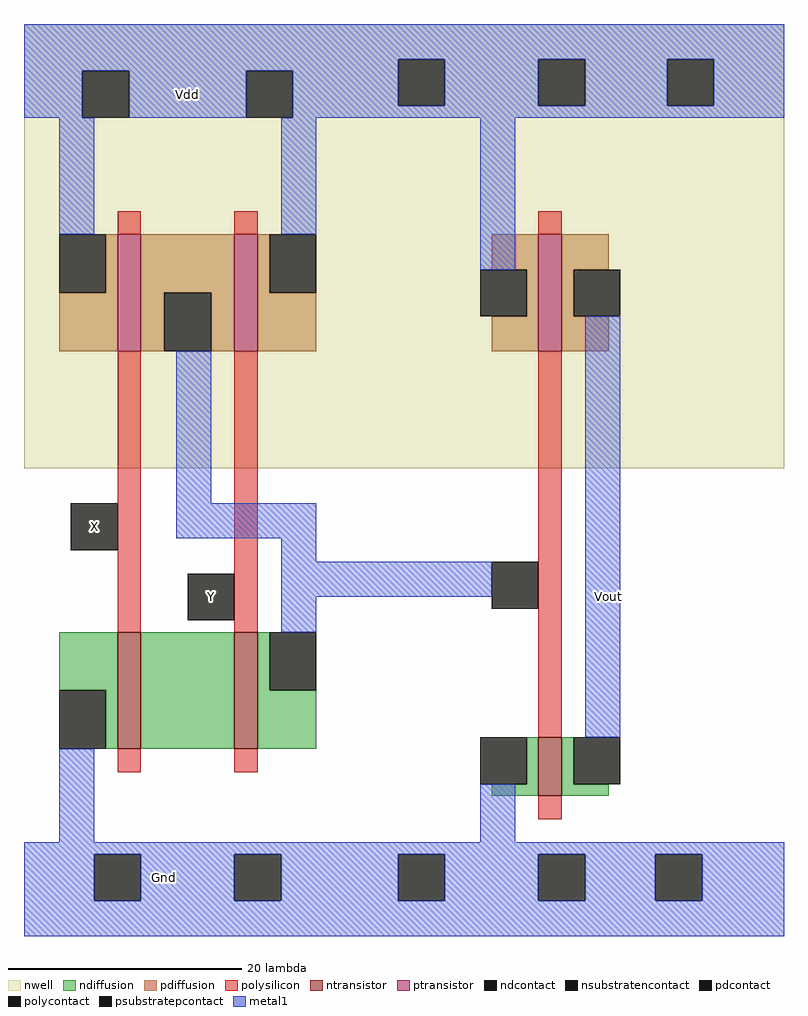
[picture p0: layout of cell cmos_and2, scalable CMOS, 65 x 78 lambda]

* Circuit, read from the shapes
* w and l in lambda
.subckt cmos_and2 Gnd Vdd Vout X Y
M1 n1 X Gnd Gnd nfet w=10 l=2
M2 n2 Y n1 Gnd nfet w=10 l=2
M3 Vout n2 Gnd Gnd nfet w=5 l=2
M4 n2 X Vdd Vdd pfet w=10 l=2
M5 Vdd Y n2 Vdd pfet w=10 l=2
M6 Vout n2 Vdd Vdd pfet w=10 l=2
.ends

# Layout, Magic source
magic
tech scmos
<< nwell >>
rect 0 14 65 52
<< polysilicon >>
rect 8 34 10 36
rect 18 34 20 36
rect 44 34 46 36
rect 8 0 10 24
rect 18 0 20 24
rect 44 -9 46 24
rect 8 -12 10 -10
rect 18 -12 20 -10
rect 44 -16 46 -14
<< ndiffusion >>
rect 3 -5 8 0
rect 7 -10 8 -5
rect 10 -10 18 0
rect 20 -5 21 0
rect 20 -10 25 -5
rect 43 -13 44 -9
rect 40 -14 44 -13
rect 46 -13 47 -9
rect 46 -14 50 -13
<< pdiffusion >>
rect 7 29 8 34
rect 3 24 8 29
rect 10 29 18 34
rect 10 24 12 29
rect 16 24 18 29
rect 20 29 21 34
rect 40 31 44 34
rect 20 24 25 29
rect 43 27 44 31
rect 40 24 44 27
rect 46 31 50 34
rect 46 27 47 31
rect 46 24 50 27
<< metal1 >>
rect 0 49 65 52
rect 0 48 32 49
rect 0 44 5 48
rect 9 44 19 48
rect 23 45 32 48
rect 36 45 44 49
rect 48 45 55 49
rect 59 45 65 49
rect 23 44 65 45
rect 3 34 6 44
rect 22 34 25 44
rect 39 31 42 44
rect 13 11 16 24
rect 13 8 25 11
rect 22 6 25 8
rect 22 3 40 6
rect 22 0 25 3
rect 48 -9 51 27
rect 3 -18 6 -10
rect 39 -18 42 -13
rect 0 -19 65 -18
rect 0 -23 6 -19
rect 10 -23 18 -19
rect 22 -23 32 -19
rect 36 -23 44 -19
rect 48 -23 54 -19
rect 58 -23 65 -19
rect 0 -26 65 -23
<< ntransistor >>
rect 8 -10 10 0
rect 18 -10 20 0
rect 44 -14 46 -9
<< ptransistor >>
rect 8 24 10 34
rect 18 24 20 34
rect 44 24 46 34
<< polycontact >>
rect 4 7 8 11
rect 14 1 18 5
rect 40 2 44 6
<< ndcontact >>
rect 3 -10 7 -5
rect 21 -5 25 0
rect 39 -13 43 -9
rect 47 -13 51 -9
<< pdcontact >>
rect 3 29 7 34
rect 12 24 16 29
rect 21 29 25 34
rect 39 27 43 31
rect 47 27 51 31
<< psubstratepcontact >>
rect 6 -23 10 -19
rect 18 -23 22 -19
rect 32 -23 36 -19
rect 44 -23 48 -19
rect 54 -23 58 -19
<< nsubstratencontact >>
rect 5 44 9 48
rect 19 44 23 48
rect 32 45 36 49
rect 44 45 48 49
rect 55 45 59 49
<< labels >>
rlabel polycontact 6 9 6 9 3 X
rlabel polycontact 16 3 16 3 1 Y
rlabel metal1 12 -21 12 -21 1 Gnd
rlabel metal1 14 46 14 46 5 Vdd
rlabel metal1 50 3 50 3 1 Vout
<< end >>
